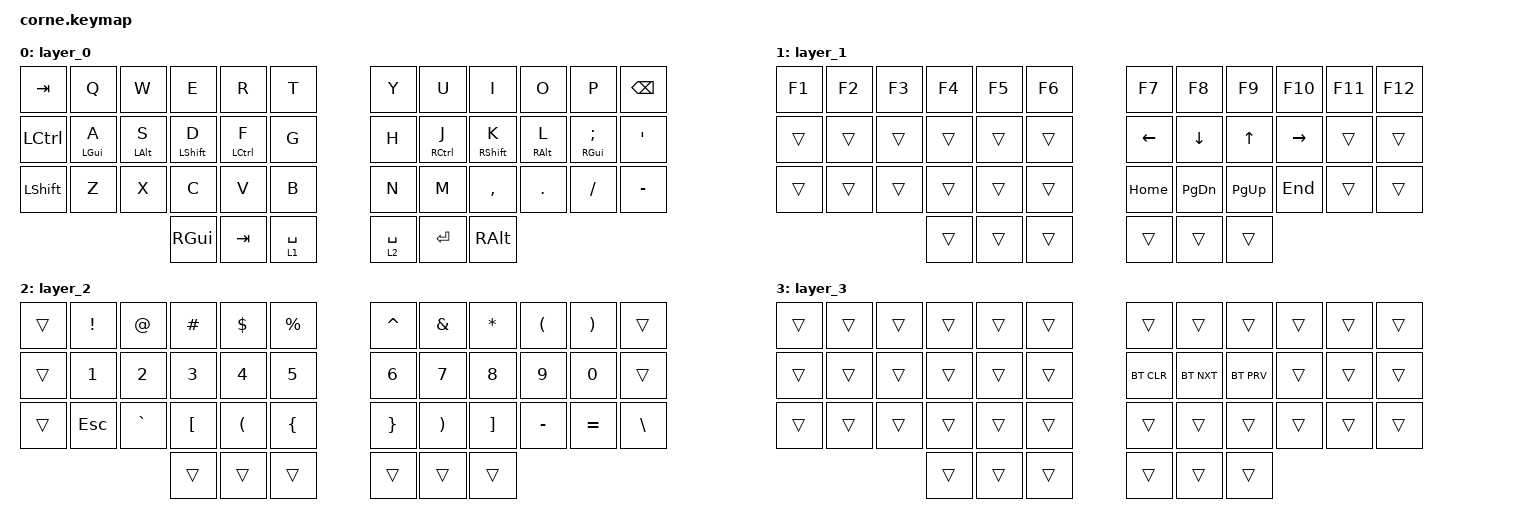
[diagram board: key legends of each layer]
#include <behaviors.dtsi>
#include <dt-bindings/zmk/bt.h>
#include <dt-bindings/zmk/keys.h>

/ {
    combos {
        compatible = "zmk,combos";

        Walrus {
            bindings = <&Walrus>;
            key-positions = <17 18>;
        };

        Escape {
            bindings = <&kp ESCAPE>;
            key-positions = <16 19>;
        };
    };

    macros {
        Walrus: Walrus {
            compatible = "zmk,behavior-macro";
            #binding-cells = <0>;
            bindings = <&kp COLON &kp EQUAL>;
            label = "WALRUS";
        };
    };

    behaviors {
        hml: homewrow_mods_left {
            compatible = "zmk,behavior-hold-tap";
            label = "HMLHOMEROW_MODS_LEFT_HAND";
            bindings = <&kp>, <&kp>;

            #binding-cells = <2>;
            tapping-term-ms = <200>;
            flavor = "balanced";
            quick-tap-ms = <200>;
            require-prior-idle-ms = <125>;
            hold-trigger-key-positions = <6 18 30 7 8 9 10 11 19 20 21 22 23 31 32 33 34 35>;
        };

        hmr: homewrow_mods_right {
            compatible = "zmk,behavior-hold-tap";
            label = "HMRHOMEROW_MODS_RIGHT_HAND";
            bindings = <&kp>, <&kp>;

            #binding-cells = <2>;
            tapping-term-ms = <200>;
            quick-tap-ms = <200>;
            require-prior-idle-ms = <125>;
            flavor = "balanced";
            hold-trigger-key-positions = <0 1 2 3 4 5 12 13 14 15 16 17 24 25 26 27 28 29>;
        };
    };

    keymap {
        compatible = "zmk,keymap";

        layer_0 {
            bindings = <
&kp TAB    &kp Q            &kp W            &kp E              &kp R         &kp T          &kp Y        &kp U         &kp I               &kp O             &kp P                     &kp BACKSPACE
&kp LCTRL  &hml LEFT_GUI A  &hml LEFT_ALT S  &hml LEFT_SHIFT D  &hml LCTRL F  &kp G          &kp H        &hmr RCTRL J  &hmr RIGHT_SHIFT K  &hmr RIGHT_ALT L  &hmr RIGHT_GUI SEMICOLON  &kp SQT
&kp LSHFT  &kp Z            &kp X            &kp C              &kp V         &kp B          &kp N        &kp M         &kp COMMA           &kp DOT           &kp FSLH                  &kp MINUS
                                             &kp RGUI           &kp TAB       &lt 1 SPACE    &lt 2 SPACE  &kp ENTER     &kp RIGHT_ALT
            >;
        };

        layer_1 {
            bindings = <
&kp F1  &kp F2  &kp F3  &kp F4  &kp F5  &kp F6    &kp F7    &kp F8         &kp F9       &kp F10    &kp F11  &kp F12
&trans  &trans  &trans  &trans  &trans  &trans    &kp LEFT  &kp DOWN       &kp UP       &kp RIGHT  &trans   &trans
&trans  &trans  &trans  &trans  &trans  &trans    &kp HOME  &kp PAGE_DOWN  &kp PAGE_UP  &kp END    &trans   &trans
                        &trans  &trans  &trans    &trans    &trans         &trans
            >;
        };

        layer_2 {
            bindings = <
&trans  &kp EXCLAMATION  &kp AT_SIGN  &kp HASH          &kp DOLLAR            &kp PERCENT       &kp CARET        &kp AMPERSAND          &kp ASTERISK       &kp LEFT_PARENTHESIS  &kp RIGHT_PARENTHESIS  &trans
&trans  &kp N1           &kp N2       &kp N3            &kp N4                &kp N5            &kp N6           &kp N7                 &kp N8             &kp N9                &kp N0                 &trans
&trans  &kp ESCAPE       &kp GRAVE    &kp LEFT_BRACKET  &kp LEFT_PARENTHESIS  &kp LEFT_BRACE    &kp RIGHT_BRACE  &kp RIGHT_PARENTHESIS  &kp RIGHT_BRACKET  &kp MINUS             &kp EQUAL              &kp BACKSLASH
                                      &trans            &trans                &trans            &trans           &trans                 &trans
            >;
        };

        layer_3 {
            bindings = <
&trans  &trans  &trans  &trans  &trans  &trans    &trans      &trans      &trans      &trans  &trans  &trans
&trans  &trans  &trans  &trans  &trans  &trans    &bt BT_CLR  &bt BT_NXT  &bt BT_PRV  &trans  &trans  &trans
&trans  &trans  &trans  &trans  &trans  &trans    &trans      &trans      &trans      &trans  &trans  &trans
                        &trans  &trans  &trans    &trans      &trans      &trans
            >;
        };
    };

    conditional_layers {
        compatible = "zmk,conditional-layers";

        Bluetooth {
            if-layers = <1 2>;
            then-layer = <3>;
        };
    };
};
